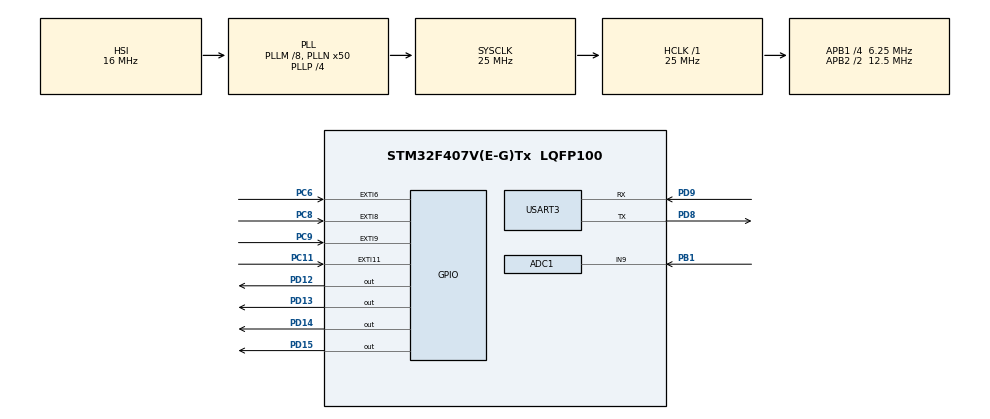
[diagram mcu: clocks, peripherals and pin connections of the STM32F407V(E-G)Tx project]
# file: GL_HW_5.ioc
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ADC1.Channel-4\#ChannelRegularConversion=ADC_CHANNEL_9
ADC1.ContinuousConvMode=ENABLE
ADC1.NbrOfConversionFlag=1
ADC1.Rank-4\#ChannelRegularConversion=1
ADC1.SamplingTime-4\#ChannelRegularConversion=ADC_SAMPLETIME_480CYCLES
ADC1.master=1
Mcu.Family=STM32F4
Mcu.Name=STM32F407V(E-G)Tx
Mcu.Package=LQFP100
NVIC.ADC_IRQn=true\:0\:0\:false\:false\:true\:true\:true\:true
NVIC.EXTI15_10_IRQn=true\:0\:0\:false\:false\:true\:true\:true\:true
NVIC.EXTI9_5_IRQn=true\:0\:0\:false\:false\:true\:true\:true\:true
NVIC.PriorityGroup=NVIC_PRIORITYGROUP_0
NVIC.USART3_IRQn=true\:0\:0\:false\:false\:true\:true\:true\:true
PB1.Signal=ADCx_IN9
PC11.Signal=GPXTI11
PC6.Signal=GPXTI6
PC8.Signal=GPXTI8
PC9.Signal=GPXTI9
PD12.Signal=GPIO_Output
PD13.Signal=GPIO_Output
PD14.Signal=GPIO_Output
PD15.Signal=GPIO_Output
PD8.Mode=Asynchronous
PD8.Signal=USART3_TX
PD9.Mode=Asynchronous
PD9.Signal=USART3_RX
ProjectManager.HeapSize=0x200
ProjectManager.StackSize=0x400
ProjectManager.TargetToolchain=STM32CubeIDE
RCC.48MHZClocksFreq_Value=14285714.285714285
RCC.AHBFreq_Value=25000000
RCC.APB1CLKDivider=RCC_HCLK_DIV4
RCC.APB1Freq_Value=6250000
RCC.APB1TimFreq_Value=12500000
RCC.APB2CLKDivider=RCC_HCLK_DIV2
RCC.APB2Freq_Value=12500000
RCC.APB2TimFreq_Value=25000000
RCC.CortexFreq_Value=25000000
RCC.HCLKFreq_Value=25000000
RCC.HSE_VALUE=8000000
RCC.HSI_VALUE=16000000
RCC.LSE_VALUE=32768
RCC.PLLM=8
RCC.PLLN=50
RCC.PLLP=RCC_PLLP_DIV4
RCC.PLLQ=7
RCC.SYSCLKFreq_VALUE=25000000
RCC.SYSCLKSource=RCC_SYSCLKSOURCE_PLLCLK
RCC.VCOOutputFreq_Value=100000000
SH.ADCx_IN9.0=ADC1_IN9,IN9
USART3.VirtualMode=VM_ASYNC
board=STM32F407G-DISC1

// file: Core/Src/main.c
/* USER CODE BEGIN Header */
/**
  ******************************************************************************
  * @file           : main.c
  * @brief          : Main program body
  ******************************************************************************
  * @attention
  *
  * Copyright (c) 2023 STMicroelectronics.
  * All rights reserved.
  *
  * This software is licensed under terms that can be found in the LICENSE file
  * in the root directory of this software component.
  * If no LICENSE file comes with this software, it is provided AS-IS.
  *
  ******************************************************************************
  */
/* USER CODE END Header */
#include "main.h"

ADC_HandleTypeDef hadc1;

UART_HandleTypeDef huart3;

/* USER CODE BEGIN PV */
uint8_t UART3_rxByte = 'b';

uint32_t PIN12_State = 0;
uint32_t PIN13_State = 0;
uint32_t PIN14_State = 0;
uint32_t PIN15_State = 0;

uint32_t adcPoolExternalTempResult = 0;
uint32_t adcExternalTempResult = 0;
/* USER CODE END PV */

void SystemClock_Config(void);
static void MX_GPIO_Init(void);
static void MX_USART3_UART_Init(void);
static void MX_ADC1_Init(void);
/* USER CODE BEGIN PFP */
void HAL_UART_RxCpltCallback(UART_HandleTypeDef *huart);
void HAL_GPIO_EXTI_Callback(uint16_t GPIO_Pin);
void HAL_ADC_ConvCpltCallback(ADC_HandleTypeDef* hadc);
/* USER CODE END PFP */

int main(void)
{

  /* MCU Configuration--------------------------------------------------------*/

  /* Reset of all peripherals, Initializes the Flash interface and the Systick. */
  HAL_Init();

  /* Configure the system clock */
  SystemClock_Config();

  /* Initialize all configured peripherals */
  MX_GPIO_Init();
  MX_USART3_UART_Init();
  MX_ADC1_Init();
  /* USER CODE BEGIN 2 */
  HAL_UART_Receive_IT(&huart3, &UART3_rxByte, sizeof(UART3_rxByte));
  HAL_ADC_Start_IT(&hadc1);

  uint32_t currentTick = 0;
  uint32_t previousTick = 0;
  uint8_t buff[6] = {0};
  float externalTemp = 0;
  /* USER CODE END 2 */

  /* Infinite loop */
  /* USER CODE BEGIN WHILE */
  while (1)
  {
	  currentTick = HAL_GetTick();

	  if (currentTick - previousTick >= 5000)
	  {
		 HAL_ADC_Start_IT(&hadc1);
		 externalTemp = ((float) adcExternalTempResult / (float) 4095 * 3) * (-50) + 101;
		 sprintf(buff, "%.2f", externalTemp);
		 HAL_UART_Transmit_IT(&huart3, buff, sizeof(buff));
		 previousTick = currentTick;
	  }
    /* USER CODE END WHILE */

  }
}

void SystemClock_Config(void)
{
  RCC_OscInitTypeDef RCC_OscInitStruct = {0};
  RCC_ClkInitTypeDef RCC_ClkInitStruct = {0};

  /** Configure the main internal regulator output voltage
  */
  __HAL_RCC_PWR_CLK_ENABLE();
  __HAL_PWR_VOLTAGESCALING_CONFIG(PWR_REGULATOR_VOLTAGE_SCALE1);

  /** Initializes the RCC Oscillators according to the specified parameters
  * in the RCC_OscInitTypeDef structure.
  */
  RCC_OscInitStruct.OscillatorType = RCC_OSCILLATORTYPE_HSI;
  RCC_OscInitStruct.HSIState = RCC_HSI_ON;
  RCC_OscInitStruct.HSICalibrationValue = RCC_HSICALIBRATION_DEFAULT;
  RCC_OscInitStruct.PLL.PLLState = RCC_PLL_ON;
  RCC_OscInitStruct.PLL.PLLSource = RCC_PLLSOURCE_HSI;
  RCC_OscInitStruct.PLL.PLLM = 8;
  RCC_OscInitStruct.PLL.PLLN = 50;
  RCC_OscInitStruct.PLL.PLLP = RCC_PLLP_DIV4;
  RCC_OscInitStruct.PLL.PLLQ = 7;
  if (HAL_RCC_OscConfig(&RCC_OscInitStruct) != HAL_OK)
  {
    Error_Handler();
  }

  /** Initializes the CPU, AHB and APB buses clocks
  */
  RCC_ClkInitStruct.ClockType = RCC_CLOCKTYPE_HCLK|RCC_CLOCKTYPE_SYSCLK
                              |RCC_CLOCKTYPE_PCLK1|RCC_CLOCKTYPE_PCLK2;
  RCC_ClkInitStruct.SYSCLKSource = RCC_SYSCLKSOURCE_PLLCLK;
  RCC_ClkInitStruct.AHBCLKDivider = RCC_SYSCLK_DIV1;
  RCC_ClkInitStruct.APB1CLKDivider = RCC_HCLK_DIV4;
  RCC_ClkInitStruct.APB2CLKDivider = RCC_HCLK_DIV2;

  if (HAL_RCC_ClockConfig(&RCC_ClkInitStruct, FLASH_LATENCY_0) != HAL_OK)
  {
    Error_Handler();
  }
}

static void MX_ADC1_Init(void)
{

  ADC_ChannelConfTypeDef sConfig = {0};

  /** Configure the global features of the ADC (Clock, Resolution, Data Alignment and number of conversion)
  */
  hadc1.Instance = ADC1;
  hadc1.Init.ClockPrescaler = ADC_CLOCK_SYNC_PCLK_DIV2;
  hadc1.Init.Resolution = ADC_RESOLUTION_12B;
  hadc1.Init.ScanConvMode = DISABLE;
  hadc1.Init.ContinuousConvMode = ENABLE;
  hadc1.Init.DiscontinuousConvMode = DISABLE;
  hadc1.Init.ExternalTrigConvEdge = ADC_EXTERNALTRIGCONVEDGE_NONE;
  hadc1.Init.ExternalTrigConv = ADC_SOFTWARE_START;
  hadc1.Init.DataAlign = ADC_DATAALIGN_RIGHT;
  hadc1.Init.NbrOfConversion = 1;
  hadc1.Init.DMAContinuousRequests = DISABLE;
  hadc1.Init.EOCSelection = ADC_EOC_SINGLE_CONV;
  if (HAL_ADC_Init(&hadc1) != HAL_OK)
  {
    Error_Handler();
  }

  /** Configure for the selected ADC regular channel its corresponding rank in the sequencer and its sample time.
  */
  sConfig.Channel = ADC_CHANNEL_9;
  sConfig.Rank = 1;
  sConfig.SamplingTime = ADC_SAMPLETIME_480CYCLES;
  if (HAL_ADC_ConfigChannel(&hadc1, &sConfig) != HAL_OK)
  {
    Error_Handler();
  }

}

static void MX_USART3_UART_Init(void)
{

  huart3.Instance = USART3;
  huart3.Init.BaudRate = 115200;
  huart3.Init.WordLength = UART_WORDLENGTH_8B;
  huart3.Init.StopBits = UART_STOPBITS_1;
  huart3.Init.Parity = UART_PARITY_NONE;
  huart3.Init.Mode = UART_MODE_TX_RX;
  huart3.Init.HwFlowCtl = UART_HWCONTROL_NONE;
  huart3.Init.OverSampling = UART_OVERSAMPLING_16;
  if (HAL_UART_Init(&huart3) != HAL_OK)
  {
    Error_Handler();
  }

}

static void MX_GPIO_Init(void)
{
  GPIO_InitTypeDef GPIO_InitStruct = {0};

  /* GPIO Ports Clock Enable */
  __HAL_RCC_GPIOB_CLK_ENABLE();
  __HAL_RCC_GPIOD_CLK_ENABLE();
  __HAL_RCC_GPIOC_CLK_ENABLE();

  /*Configure GPIO pin Output Level */
  HAL_GPIO_WritePin(GPIOD, GPIO_PIN_12|GPIO_PIN_13|GPIO_PIN_14|GPIO_PIN_15, GPIO_PIN_RESET);

  /*Configure GPIO pins : PD12 PD13 PD14 PD15 */
  GPIO_InitStruct.Pin = GPIO_PIN_12|GPIO_PIN_13|GPIO_PIN_14|GPIO_PIN_15;
  GPIO_InitStruct.Mode = GPIO_MODE_OUTPUT_PP;
  GPIO_InitStruct.Pull = GPIO_NOPULL;
  GPIO_InitStruct.Speed = GPIO_SPEED_FREQ_LOW;
  HAL_GPIO_Init(GPIOD, &GPIO_InitStruct);

  /*Configure GPIO pins : PC6 PC8 PC9 PC11 */
  GPIO_InitStruct.Pin = GPIO_PIN_6|GPIO_PIN_8|GPIO_PIN_9|GPIO_PIN_11;
  GPIO_InitStruct.Mode = GPIO_MODE_IT_RISING;
  GPIO_InitStruct.Pull = GPIO_NOPULL;
  HAL_GPIO_Init(GPIOC, &GPIO_InitStruct);

  /* EXTI interrupt init*/
  HAL_NVIC_SetPriority(EXTI9_5_IRQn, 0, 0);
  HAL_NVIC_EnableIRQ(EXTI9_5_IRQn);

  HAL_NVIC_SetPriority(EXTI15_10_IRQn, 0, 0);
  HAL_NVIC_EnableIRQ(EXTI15_10_IRQn);

}

/* USER CODE BEGIN 4 */
void HAL_UART_RxCpltCallback(UART_HandleTypeDef *huart)
{
	if(UART3_rxByte == '1')
	{
		PIN12_State = !PIN12_State;
		HAL_GPIO_TogglePin(GPIOD, GPIO_PIN_12);
		if(PIN12_State)
		{
			HAL_UART_Transmit_IT(&huart3, "Green LED ON\n", 13);
		}
		else
		{
			HAL_UART_Transmit_IT(&huart3, "Green LED OFF\n", 14);
		}
	}

	if(UART3_rxByte == '2')
	{
		PIN13_State = !PIN13_State;
		HAL_GPIO_TogglePin(GPIOD, GPIO_PIN_13);
		if(PIN13_State)
		{
			HAL_UART_Transmit_IT(&huart3, "Orange LED ON\n", 14);
		}
		else
		{
			HAL_UART_Transmit_IT(&huart3, "Orange LED OFF\n", 15);
		}
	}

	if(UART3_rxByte == '3')
	{
		PIN14_State = !PIN14_State;
		HAL_GPIO_TogglePin(GPIOD, GPIO_PIN_14);
		if(PIN14_State)
		{
			HAL_UART_Transmit_IT(&huart3, "Red LED ON\n", 11);
		}
		else
		{
			HAL_UART_Transmit_IT(&huart3, "Red LED OFF\n", 12);
		}
	}

	if(UART3_rxByte == '4')
	{
		PIN15_State = !PIN15_State;
		HAL_GPIO_TogglePin(GPIOD, GPIO_PIN_15);
		if(PIN15_State)
		{
			HAL_UART_Transmit_IT(&huart3, "Blue LED ON\n", 12);
		}
		else
		{
			HAL_UART_Transmit_IT(&huart3, "BLue LED OFF\n", 13);
		}
	}

	HAL_UART_Receive_IT(&huart3, &UART3_rxByte, sizeof(UART3_rxByte));
}

void HAL_GPIO_EXTI_Callback(uint16_t GPIO_Pin)
{
	if (GPIO_Pin == GPIO_PIN_6)
	{
		PIN12_State = !PIN12_State;
		HAL_GPIO_TogglePin(GPIOD, GPIO_PIN_12);
		if(PIN12_State)
		{
			HAL_UART_Transmit_IT(&huart3, "Green LED ON\n", 13);
		}
		else
		{
			HAL_UART_Transmit_IT(&huart3, "Green LED OFF\n", 14);
		}
	}

	if (GPIO_Pin == GPIO_PIN_8)
	{
		PIN13_State = !PIN13_State;
		HAL_GPIO_TogglePin(GPIOD, GPIO_PIN_13);
		if(PIN13_State)
		{
			HAL_UART_Transmit_IT(&huart3, "Orange LED ON\n", 14);
		}
		else
		{
			HAL_UART_Transmit_IT(&huart3, "Orange LED OFF\n", 15);
		}
	}

	if (GPIO_Pin == GPIO_PIN_9)
	{
		PIN14_State = !PIN14_State;
		HAL_GPIO_TogglePin(GPIOD, GPIO_PIN_14);
		if(PIN14_State)
		{
			HAL_UART_Transmit_IT(&huart3, "Red LED ON\n", 11);
		}
		else
		{
			HAL_UART_Transmit_IT(&huart3, "Red LED OFF\n", 12);
		}
	}

	if (GPIO_Pin == GPIO_PIN_11)
	{
		PIN15_State = !PIN15_State;
		HAL_GPIO_TogglePin(GPIOD, GPIO_PIN_15);
		if(PIN15_State)
		{
			HAL_UART_Transmit_IT(&huart3, "Blue LED ON\n", 12);
		}
		else
		{
			HAL_UART_Transmit_IT(&huart3, "BLue LED OFF\n", 13);
		}
	}
}

void HAL_ADC_ConvCpltCallback(ADC_HandleTypeDef* hadc)
{
	if(hadc->Instance == ADC1)
	{
		adcPoolExternalTempResult = HAL_ADC_PollForConversion(&hadc1, 100);

		if(adcPoolExternalTempResult == HAL_OK)
			adcExternalTempResult = HAL_ADC_GetValue(&hadc1);
	}
	HAL_ADC_Stop_IT(&hadc1);
}
/* USER CODE END 4 */

void Error_Handler(void)
{
  __disable_irq();
  while (1)
  {
  }
}
